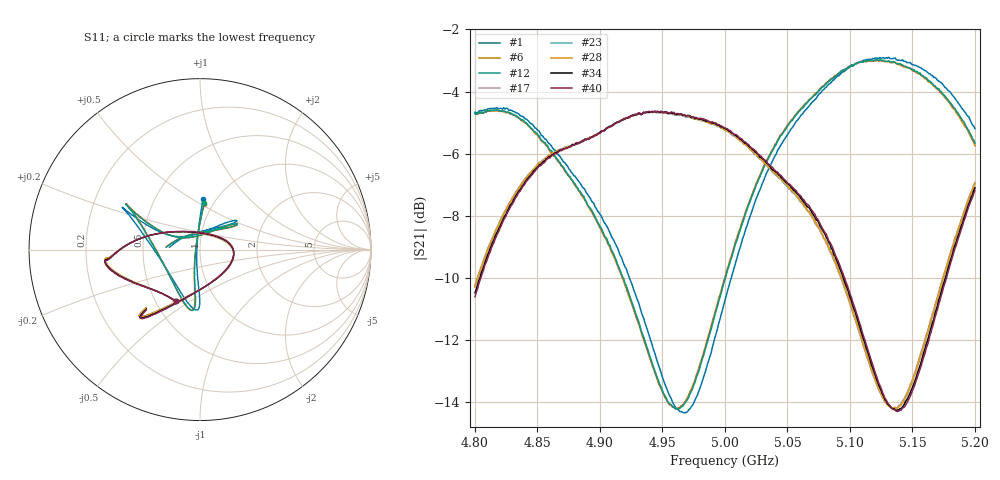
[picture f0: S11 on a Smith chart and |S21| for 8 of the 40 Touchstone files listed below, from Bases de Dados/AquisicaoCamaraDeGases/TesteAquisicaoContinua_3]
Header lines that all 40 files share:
! Network Analyzer HP8722D
! Hewlett-Packard
! Data name: Linha & Wilkinson
! Saver's name: Rodrigo Anjos
! Comments: Teste da utilização de aquisição
! continua pelo VNA HP8722D
!  Frequency  S11  S21  S12  S22
# HZ  S  MA R 50
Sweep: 4.8 GHz to 5.2 GHz
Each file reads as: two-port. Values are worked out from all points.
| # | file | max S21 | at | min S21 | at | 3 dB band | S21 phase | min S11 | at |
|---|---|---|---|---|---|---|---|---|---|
| 1 | teste_arseco&borbulhador_90Acetona_120.S2P | -2.89 dB | 5.131 GHz | -14.3 dB | 4.968 GHz | 5.042 GHz-5.2 GHz | -179 deg at 5 GHz | -34.6 dB | 4.833 GHz |
| 2 | teste_arseco&borbulhador_90Acetona_121.S2P | -2.91 dB | 5.122 GHz | -14.3 dB | 4.968 GHz | 5.043 GHz-5.2 GHz | -179 deg at 5 GHz | -34.8 dB | 4.833 GHz |
| 3 | teste_arseco&borbulhador_90Acetona_122.S2P | -2.98 dB | 5.116 GHz | -14.3 dB | 4.961 GHz | 5.038 GHz-5.2 GHz | -179 deg at 5 GHz | -32.8 dB | 4.83 GHz |
| 4 | teste_arseco&borbulhador_90Acetona_123.S2P | -2.99 dB | 5.12 GHz | -14.2 dB | 4.961 GHz | 5.037 GHz-5.2 GHz | -179 deg at 5 GHz | -32.1 dB | 4.829 GHz |
| 5 | teste_arseco&borbulhador_90Acetona_124.S2P | -2.99 dB | 5.124 GHz | -14.2 dB | 4.961 GHz | 5.037 GHz-5.2 GHz | -180 deg at 5 GHz | -31.9 dB | 4.83 GHz |
| 6 | teste_arseco&borbulhador_90Acetona_125.S2P | -2.99 dB | 5.124 GHz | -14.2 dB | 4.961 GHz | 5.037 GHz-5.2 GHz | -179 deg at 5 GHz | -31.9 dB | 4.829 GHz |
| 7 | teste_arseco&borbulhador_90Acetona_126.S2P | -2.97 dB | 5.124 GHz | -14.2 dB | 4.961 GHz | 5.037 GHz-5.2 GHz | -180 deg at 5 GHz | -32.0 dB | 4.829 GHz |
| 8 | teste_arseco&borbulhador_90Acetona_127.S2P | -2.98 dB | 5.12 GHz | -14.2 dB | 4.961 GHz | 5.037 GHz-5.2 GHz | -179 deg at 5 GHz | -32.0 dB | 4.829 GHz |
| 9 | teste_arseco&borbulhador_90Acetona_128.S2P | -2.98 dB | 5.12 GHz | -14.2 dB | 4.961 GHz | 5.037 GHz-5.2 GHz | -179 deg at 5 GHz | -32.0 dB | 4.83 GHz |
| 10 | teste_arseco&borbulhador_90Acetona_129.S2P | -2.98 dB | 5.119 GHz | -14.2 dB | 4.961 GHz | 5.037 GHz-5.2 GHz | -179 deg at 5 GHz | -32.1 dB | 4.83 GHz |
| 11 | teste_arseco&borbulhador_90Acetona_130.S2P | -2.98 dB | 5.124 GHz | -14.2 dB | 4.961 GHz | 5.037 GHz-5.2 GHz | -179 deg at 5 GHz | -32.2 dB | 4.83 GHz |
| 12 | teste_arseco&borbulhador_90Acetona_131.S2P | -2.98 dB | 5.122 GHz | -14.2 dB | 4.961 GHz | 5.037 GHz-5.2 GHz | -179 deg at 5 GHz | -32.2 dB | 4.83 GHz |
| 13 | teste_arseco&borbulhador_90Acetona_132.S2P | -2.98 dB | 5.124 GHz | -14.2 dB | 4.961 GHz | 5.038 GHz-5.2 GHz | -179 deg at 5 GHz | -32.3 dB | 4.83 GHz |
| 14 | teste_arseco&borbulhador_90Acetona_133.S2P | -2.97 dB | 5.122 GHz | -14.2 dB | 4.961 GHz | 5.038 GHz-5.2 GHz | -179 deg at 5 GHz | -32.3 dB | 4.83 GHz |
| 15 | teste_arseco&borbulhador_90Acetona_134.S2P | -4.66 dB | 4.944 GHz | -14.2 dB | 5.134 GHz | 4.826 GHz-5.061 GHz | -113 deg at 5 GHz | -20.8 dB | 5.001 GHz |
| 16 | teste_arseco&borbulhador_90Acetona_135.S2P | -4.65 dB | 4.944 GHz | -14.2 dB | 5.135 GHz | 4.827 GHz-5.062 GHz | -113 deg at 5 GHz | -20.7 dB | 5.002 GHz |
| 17 | teste_arseco&borbulhador_90Acetona_136.S2P | -4.64 dB | 4.944 GHz | -14.2 dB | 5.135 GHz | 4.827 GHz-5.062 GHz | -113 deg at 5 GHz | -20.7 dB | 5.004 GHz |
| 18 | teste_arseco&borbulhador_90Acetona_137.S2P | -4.66 dB | 4.947 GHz | -14.2 dB | 5.137 GHz | 4.827 GHz-5.062 GHz | -113 deg at 5 GHz | -20.6 dB | 5.003 GHz |
| 19 | teste_arseco&borbulhador_90Acetona_138.S2P | -4.65 dB | 4.944 GHz | -14.2 dB | 5.137 GHz | 4.827 GHz-5.062 GHz | -112 deg at 5 GHz | -20.6 dB | 5.004 GHz |
| 20 | teste_arseco&borbulhador_90Acetona_139.S2P | -4.66 dB | 4.949 GHz | -14.2 dB | 5.135 GHz | 4.827 GHz-5.063 GHz | -112 deg at 5 GHz | -20.6 dB | 5.002 GHz |
| 21 | teste_arseco&borbulhador_90Acetona_140.S2P | -4.63 dB | 4.944 GHz | -14.2 dB | 5.134 GHz | 4.827 GHz-5.062 GHz | -112 deg at 5 GHz | -20.6 dB | 5.002 GHz |
| 22 | teste_arseco&borbulhador_90Acetona_141.S2P | -4.64 dB | 4.944 GHz | -14.2 dB | 5.137 GHz | 4.827 GHz-5.063 GHz | -113 deg at 5 GHz | -20.6 dB | 5.002 GHz |
| 23 | teste_arseco&borbulhador_90Acetona_142.S2P | -4.64 dB | 4.944 GHz | -14.2 dB | 5.137 GHz | 4.828 GHz-5.063 GHz | -112 deg at 5 GHz | -20.6 dB | 5.002 GHz |
| 24 | teste_arseco&borbulhador_90Acetona_143.S2P | -4.65 dB | 4.939 GHz | -14.2 dB | 5.137 GHz | 4.828 GHz-5.063 GHz | -113 deg at 5 GHz | -20.5 dB | 5.002 GHz |
| 25 | teste_arseco&borbulhador_90Acetona_144.S2P | -4.65 dB | 4.944 GHz | -14.2 dB | 5.137 GHz | 4.827 GHz-5.063 GHz | -113 deg at 5 GHz | -20.6 dB | 5.004 GHz |
| 26 | teste_arseco&borbulhador_90Acetona_145.S2P | -4.64 dB | 4.941 GHz | -14.2 dB | 5.134 GHz | 4.828 GHz-5.063 GHz | -112 deg at 5 GHz | -20.5 dB | 5.003 GHz |
| 27 | teste_arseco&borbulhador_90Acetona_146.S2P | -4.64 dB | 4.946 GHz | -14.2 dB | 5.137 GHz | 4.827 GHz-5.062 GHz | -113 deg at 5 GHz | -20.6 dB | 5.002 GHz |
| 28 | teste_arseco&borbulhador_90Acetona_147.S2P | -4.64 dB | 4.939 GHz | -14.2 dB | 5.137 GHz | 4.827 GHz-5.063 GHz | -112 deg at 5 GHz | -20.5 dB | 5.002 GHz |
| 29 | teste_arseco&borbulhador_90Acetona_148.S2P | -4.64 dB | 4.944 GHz | -14.2 dB | 5.137 GHz | 4.828 GHz-5.062 GHz | -112 deg at 5 GHz | -20.5 dB | 5.003 GHz |
| 30 | teste_arseco&borbulhador_90Acetona_149.S2P | -4.65 dB | 4.944 GHz | -14.2 dB | 5.137 GHz | 4.827 GHz-5.063 GHz | -112 deg at 5 GHz | -20.5 dB | 5.002 GHz |
| 31 | teste_arseco&borbulhador_90Acetona_150.S2P | -4.64 dB | 4.944 GHz | -14.2 dB | 5.134 GHz | 4.828 GHz-5.063 GHz | -112 deg at 5 GHz | -20.5 dB | 5.003 GHz |
| 32 | teste_arseco&borbulhador_90Acetona_151.S2P | -4.64 dB | 4.944 GHz | -14.2 dB | 5.137 GHz | 4.828 GHz-5.062 GHz | -112 deg at 5 GHz | -20.5 dB | 5.002 GHz |
| 33 | teste_arseco&borbulhador_90Acetona_152.S2P | -4.63 dB | 4.944 GHz | -14.2 dB | 5.137 GHz | 4.829 GHz-5.063 GHz | -112 deg at 5 GHz | -20.4 dB | 5.004 GHz |
| 34 | teste_arseco&borbulhador_90Acetona_153.S2P | -4.63 dB | 4.944 GHz | -14.3 dB | 5.137 GHz | 4.829 GHz-5.064 GHz | -112 deg at 5 GHz | -20.3 dB | 5.004 GHz |
| 35 | teste_arseco&borbulhador_90Acetona_154.S2P | -4.63 dB | 4.949 GHz | -14.3 dB | 5.137 GHz | 4.83 GHz-5.065 GHz | -112 deg at 5 GHz | -20.2 dB | 5.004 GHz |
| 36 | teste_arseco&borbulhador_90Acetona_155.S2P | -4.61 dB | 4.944 GHz | -14.3 dB | 5.137 GHz | 4.83 GHz-5.065 GHz | -112 deg at 5 GHz | -20.2 dB | 5.005 GHz |
| 37 | teste_arseco&borbulhador_90Acetona_156.S2P | -4.62 dB | 4.944 GHz | -14.3 dB | 5.137 GHz | 4.83 GHz-5.065 GHz | -112 deg at 5 GHz | -20.2 dB | 5.004 GHz |
| 38 | teste_arseco&borbulhador_90Acetona_157.S2P | -4.63 dB | 4.944 GHz | -14.3 dB | 5.138 GHz | 4.83 GHz-5.065 GHz | -112 deg at 5 GHz | -20.1 dB | 5.005 GHz |
| 39 | teste_arseco&borbulhador_90Acetona_158.S2P | -4.63 dB | 4.949 GHz | -14.3 dB | 5.137 GHz | 4.83 GHz-5.065 GHz | -112 deg at 5 GHz | -20.1 dB | 5.005 GHz |
| 40 | teste_arseco&borbulhador_90Acetona_159.S2P | -4.63 dB | 4.949 GHz | -14.3 dB | 5.138 GHz | 4.83 GHz-5.065 GHz | -112 deg at 5 GHz | -20.1 dB | 5.005 GHz |
